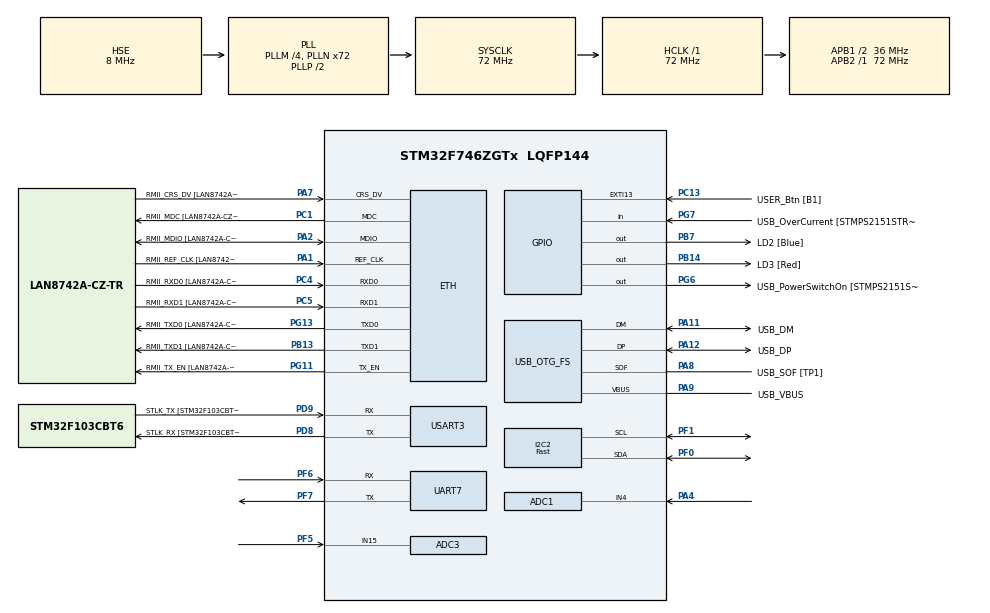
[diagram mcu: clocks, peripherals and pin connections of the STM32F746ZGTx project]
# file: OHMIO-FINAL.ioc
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ADC1.Channel-2\#ChannelRegularConversion=ADC_CHANNEL_4
ADC1.NbrOfConversionFlag=1
ADC1.Rank-2\#ChannelRegularConversion=1
ADC1.SamplingTime-2\#ChannelRegularConversion=ADC_SAMPLETIME_3CYCLES
ADC1.master=1
ADC3.Channel-0\#ChannelRegularConversion=ADC_CHANNEL_15
ADC3.NbrOfConversionFlag=1
ADC3.Rank-0\#ChannelRegularConversion=1
ADC3.SamplingTime-0\#ChannelRegularConversion=ADC_SAMPLETIME_3CYCLES
CORTEX_M7.CPU_DCache=Enabled
CORTEX_M7.CPU_ICache=Enabled
CORTEX_M7.MPU_Control=MPU_PRIVILEGED_DEFAULT
CORTEX_M7.PREFETCH_ENABLE=1
Dma.Request0=UART7_RX
Dma.Request1=UART7_TX
Dma.UART7_RX.0.Direction=DMA_PERIPH_TO_MEMORY
Dma.UART7_RX.0.FIFOMode=DMA_FIFOMODE_DISABLE
Dma.UART7_RX.0.Instance=DMA1_Stream3
Dma.UART7_RX.0.MemDataAlignment=DMA_MDATAALIGN_BYTE
Dma.UART7_RX.0.MemInc=DMA_MINC_ENABLE
Dma.UART7_RX.0.Mode=DMA_NORMAL
Dma.UART7_RX.0.PeriphDataAlignment=DMA_PDATAALIGN_BYTE
Dma.UART7_RX.0.PeriphInc=DMA_PINC_DISABLE
Dma.UART7_RX.0.Priority=DMA_PRIORITY_LOW
Dma.UART7_TX.1.Direction=DMA_MEMORY_TO_PERIPH
Dma.UART7_TX.1.FIFOMode=DMA_FIFOMODE_DISABLE
Dma.UART7_TX.1.Instance=DMA1_Stream1
Dma.UART7_TX.1.MemDataAlignment=DMA_MDATAALIGN_BYTE
Dma.UART7_TX.1.MemInc=DMA_MINC_ENABLE
Dma.UART7_TX.1.Mode=DMA_NORMAL
Dma.UART7_TX.1.PeriphDataAlignment=DMA_PDATAALIGN_BYTE
Dma.UART7_TX.1.PeriphInc=DMA_PINC_DISABLE
Dma.UART7_TX.1.Priority=DMA_PRIORITY_LOW
ETH.MediaInterface=HAL_ETH_RMII_MODE
I2C2.I2C_Speed_Mode=I2C_Fast
I2C2.Timing=0x00301739
LWIP.BSP.number=1
LWIP.LWIP_DHCP=1
LWIP.LWIP_IPV6=0
LWIP.LWIP_SNMP=0
LWIP.LWIP_SNMP_V3=0
LWIP.MEM_SIZE=10*1024
LWIP.Version=v2.1.2_Cube
LWIP0.BSP.STBoard=false
LWIP0.BSP.api=BSP_COMPONENT_DRIVER
LWIP0.BSP.component=LAN8742
LWIP0.BSP.instance=LAN8742
LWIP0.BSP.name=Driver_PHY
LWIP0.BSP.semaphore=S_LAN8742
LWIP0.BSP.solution=LAN8742
Mcu.Family=STM32F7
Mcu.Name=STM32F746ZGTx
Mcu.Package=LQFP144
NVIC.DMA1_Stream1_IRQn=true\:0\:0\:false\:false\:true\:false\:true\:true
NVIC.DMA1_Stream3_IRQn=true\:0\:0\:false\:false\:true\:false\:true\:true
NVIC.ETH_IRQn=true\:0\:0\:false\:false\:true\:true\:true\:true
NVIC.PriorityGroup=NVIC_PRIORITYGROUP_4
NVIC.UART7_IRQn=true\:0\:0\:false\:false\:true\:true\:true\:true
PA0/WKUP.Mode=SYS_WakeUp0
PA0/WKUP.Signal=SYS_WKUP1
PA1.GPIO_Label=RMII_REF_CLK [LAN8742A-CZ-TR_REFCLK0]
PA1.Mode=RMII
PA1.Signal=ETH_REF_CLK
PA10.GPIO_Label=USB_ID
PA10.Signal=USB_OTG_FS_ID
PA11.GPIO_Label=USB_DM
PA11.Mode=Device_Only
PA11.Signal=USB_OTG_FS_DM
PA12.GPIO_Label=USB_DP
PA12.Mode=Device_Only
PA12.Signal=USB_OTG_FS_DP
PA13.GPIO_Label=TMS
PA13.Mode=Serial_Wire
PA13.Signal=SYS_JTMS-SWDIO
PA14.GPIO_Label=TCK
PA14.Mode=Serial_Wire
PA14.Signal=SYS_JTCK-SWCLK
PA2.GPIO_Label=RMII_MDIO [LAN8742A-CZ-TR_MDIO]
PA2.Mode=RMII
PA2.Signal=ETH_MDIO
PA4.Signal=ADCx_IN4
PA7.GPIO_Label=RMII_CRS_DV [LAN8742A-CZ-TR_CRS_DV]
PA7.Mode=RMII
PA7.Signal=ETH_CRS_DV
PA8.GPIO_Label=USB_SOF [TP1]
PA8.Mode=Activate_SOF_FS
PA8.Signal=USB_OTG_FS_SOF
PA9.GPIO_Label=USB_VBUS
PA9.Mode=Activate_VBUS
PA9.Signal=USB_OTG_FS_VBUS
PB0.Signal=ETH_RXD2
PB13.GPIO_Label=RMII_TXD1 [LAN8742A-CZ-TR_TXD1]
PB13.Mode=RMII
PB13.Signal=ETH_TXD1
PB14.GPIO_Label=LD3 [Red]
PB14.Signal=GPIO_Output
PB3.GPIO_Label=SW0
PB3.Signal=SYS_JTDO-SWO
PB7.GPIO_Label=LD2 [Blue]
PB7.Signal=GPIO_Output
PC1.GPIO_Label=RMII_MDC [LAN8742A-CZ-TR_MDC]
PC1.Mode=RMII
PC1.Signal=ETH_MDC
PC13.GPIO_Label=USER_Btn [B1]
PC13.Signal=GPXTI13
PC14/OSC32_IN.Mode=LSE-External-Oscillator
PC14/OSC32_IN.Signal=RCC_OSC32_IN
PC15/OSC32_OUT.Mode=LSE-External-Oscillator
PC15/OSC32_OUT.Signal=RCC_OSC32_OUT
PC4.GPIO_Label=RMII_RXD0 [LAN8742A-CZ-TR_RXD0]
PC4.Mode=RMII
PC4.Signal=ETH_RXD0
PC5.GPIO_Label=RMII_RXD1 [LAN8742A-CZ-TR_RXD1]
PC5.Mode=RMII
PC5.Signal=ETH_RXD1
PD8.GPIO_Label=STLK_RX [STM32F103CBT6_PA3]
PD8.GPIO_PuPd=GPIO_PULLUP
PD8.Mode=Asynchronous
PD8.Signal=USART3_TX
PD9.GPIO_Label=STLK_TX [STM32F103CBT6_PA2]
PD9.GPIO_PuPd=GPIO_PULLUP
PD9.Mode=Asynchronous
PD9.Signal=USART3_RX
PF0.Mode=I2C
PF0.Signal=I2C2_SDA
PF1.Mode=I2C
PF1.Signal=I2C2_SCL
PF5.Mode=IN15
PF5.Signal=ADC3_IN15
PF6.Mode=Asynchronous
PF6.Signal=UART7_RX
PF7.Mode=Asynchronous
PF7.Signal=UART7_TX
PG11.GPIO_Label=RMII_TX_EN [LAN8742A-CZ-TR_TXEN]
PG11.Mode=RMII
PG11.Signal=ETH_TX_EN
PG13.GPIO_Label=RMII_TXD0 [LAN8742A-CZ-TR_TXD0]
PG13.Mode=RMII
PG13.Signal=ETH_TXD0
PG6.GPIO_Label=USB_PowerSwitchOn [STMPS2151STR_EN]
PG6.Signal=GPIO_Output
PG7.GPIO_Label=USB_OverCurrent [STMPS2151STR_FAULT]
PG7.Signal=GPIO_Input
PH0/OSC_IN.GPIO_Label=MCO [STM32F103CBT6_PA8]
PH0/OSC_IN.Mode=HSE-External-Clock-Source
PH0/OSC_IN.Signal=RCC_OSC_IN
PH1/OSC_OUT.Mode=HSE-External-Clock-Source
PH1/OSC_OUT.Signal=RCC_OSC_OUT
ProjectManager.HeapSize=0x200
ProjectManager.StackSize=0x400
ProjectManager.TargetToolchain=STM32CubeIDE
RCC.48MHZClocksFreq_Value=24000000
RCC.AHBFreq_Value=72000000
RCC.APB1CLKDivider=RCC_HCLK_DIV2
RCC.APB1Freq_Value=36000000
RCC.APB1TimFreq_Value=72000000
RCC.APB2Freq_Value=72000000
RCC.APB2TimFreq_Value=72000000
RCC.CortexFreq_Value=72000000
RCC.HCLKFreq_Value=72000000
RCC.HSE_VALUE=8000000
RCC.HSI_VALUE=16000000
RCC.PLLM=4
RCC.PLLMUL=RCC_PLL_MUL9
RCC.PLLN=72
RCC.PLLQ=3
RCC.PRESCALERUSB=RCC_USBCLKSOURCE_PLL_DIV1_5
RCC.SYSCLKFreq_VALUE=72000000
RCC.SYSCLKSource=RCC_SYSCLKSOURCE_PLLCLK
RCC.SYSCLKSourceVirtual=RCC_SYSCLKSOURCE_PLLCLK
RCC.USBFreq_Value=48000000
RCC.VCOOutputFreq_Value=144000000
SH.ADCx_IN4.0=ADC1_IN4,IN4
USART3.VirtualMode-Asynchronous=VM_ASYNC
USB_OTG_FS.VirtualMode=Device_Only
VP_LWIP_VS_Enabled.Mode=Enabled
board=NUCLEO-F746ZG

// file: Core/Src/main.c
/* USER CODE BEGIN Header */
/**
  ******************************************************************************
  * @file           : main.c
  * @brief          : Main program body
  ******************************************************************************
  * @attention
  *
  * Copyright (c) 2023 STMicroelectronics.
  * All rights reserved.
  *
  * This software is licensed under terms that can be found in the LICENSE file
  * in the root directory of this software component.
  * If no LICENSE file comes with this software, it is provided AS-IS.
  *
  ******************************************************************************
  */
/* USER CODE END Header */
#include "main.h"
#include "lwip.h"

/* USER CODE BEGIN Includes */
#include "ssd1306.h"
#include "ssd1306_tests.h"
#include "ssd1306_fonts.h"

#include "lwip/opt.h"
#include "lwip/timeouts.h"
#include "lwip/netif.h"
#include "lwip/ip4_addr.h"
#include "lwip/dhcp.h"
#include "ethernetif.h"
#include "string.h"
#include <stdbool.h>

/* USER CODE END Includes */

ADC_HandleTypeDef hadc1;
ADC_HandleTypeDef hadc3;

I2C_HandleTypeDef hi2c2;

UART_HandleTypeDef huart7;
UART_HandleTypeDef huart3;
DMA_HandleTypeDef hdma_uart7_rx;
DMA_HandleTypeDef hdma_uart7_tx;

PCD_HandleTypeDef hpcd_USB_OTG_FS;

void SystemClock_Config(void);
static void MPU_Config(void);
static void MX_GPIO_Init(void);
static void MX_DMA_Init(void);
static void MX_USB_OTG_FS_PCD_Init(void);
static void MX_I2C2_Init(void);
static void MX_ADC1_Init(void);
static void MX_ADC3_Init(void);
static void MX_UART7_Init(void);
static void MX_USART3_UART_Init(void);

/* USER CODE BEGIN 0 */
int _write(int file, char *ptr, int len){
	int i =0;
	for (i=0; i<len; i++)
		ITM_SendChar((*ptr++));
	return len;
}
/* USER CODE END 0 */

 //VARIABLES PUBLICAS DE NAVEGACION
 extern int indexMenu=0;
extern int screen=0;
static uint32_t last_arriba_time = 0; // keeps track of the last time "ARRIBA" was displayed
unsigned int analog_value_keypad; //ENTRADA ANALOGICA KEYPAD
//VARIABLES PUBLICAS DE RED
extern struct netif gnetif;

//VARIABLES GLOBALES DE ESTADO PÚBLICAS TODOS LOS DATOS RELEVANTES DE LA OHMIOBOX, empezando por la comunicación serial y luego los de adquisición seteados desde AWS
extern bool NetworkStatus;
extern bool CloudStatus;
extern bool SerialStatus;
extern bool isCheckingSerialStatus;
//variables modificadas que se dejan manipular o leer desde los aplicativos web y móvil, estas son las variables de la lógica de negocio
char currentFrequencyStr[15];
char currentChannel[15];
char currentStandard[15];
char currentMER[15];
char currentBER[15];
char currentID[15];
char currentWallet[15];
int currentDesireMinutes;
int currentTimeZone;

//VARIABLES DE COMUNICACION SERIAL
uint8_t tx_check[] = "9";
uint8_t tx_buff[] = "COMANDO 1";
uint8_t tx_buff2[] = "COMANDO 2";
uint8_t rx_buff[1];

void HAL_UART_RxCpltCallback(UART_HandleTypeDef *huart) {
    HAL_UART_Receive_IT(&huart7, rx_buff, 1);
    processReceivedData(rx_buff);
}

void processReceivedData(uint8_t* data) {
    if (*data == '9') {
        HAL_UART_Transmit_IT(&huart7, tx_check, strlen((char*)tx_check));
        rx_buff[0] = 0;  // Restore the value of rx_buff to 0
    }
}

int main(void)
{

  /* MPU Configuration--------------------------------------------------------*/
  MPU_Config();

  /* Enable I-Cache---------------------------------------------------------*/
  SCB_EnableICache();

  /* Enable D-Cache---------------------------------------------------------*/
  SCB_EnableDCache();

  /* MCU Configuration--------------------------------------------------------*/

  /* Reset of all peripherals, Initializes the Flash interface and the Systick. */
  HAL_Init();

  /* Configure the system clock */
  SystemClock_Config();

  /* Initialize all configured peripherals */
  MX_GPIO_Init();
  MX_DMA_Init();
  MX_USB_OTG_FS_PCD_Init();
  MX_I2C2_Init();
  MX_ADC1_Init();
  MX_ADC3_Init();
  MX_LWIP_Init();
  MX_UART7_Init();
  MX_USART3_UART_Init();
  /* USER CODE BEGIN 2 */
  ssd1306_Init();
  //INICIALIZAMOS EL SPLASH
  ssd1306_OhmioSplash();
  ssd1306_OhmioMenuPrincipal();
//  initializeData();

  /* USER CODE END 2 */

  /* Infinite loop */
  /* USER CODE BEGIN WHILE */
  uint32_t ipaddr;
  uint32_t netmask;
   char ip_str[16];
   char netmask_str[16];
   HAL_UART_Init(&huart7);
  HAL_UART_Receive_IT(&huart7,rx_buff,1);
  HAL_UART_Transmit_IT(&huart7, tx_check, strlen((char*)tx_check));

 while (1)
  {
    /* USER CODE END WHILE */
/* 	HAL_UART_Transmit_IT(&huart7, tx_buff, 8
  );
	HAL_Delay(5000); */

	  //INICIALIZAMOS EL SPLASH
    ethernetif_input(&gnetif);
    sys_check_timeouts();

    ipaddr = netif_ip4_addr(&gnetif);
    netmask = netif_ip4_netmask(&gnetif);

// Convertir la dirección IP en una cadena de caracteres
sprintf(ip_str, "%d.%d.%d.%d", (ipaddr & 0xff), ((ipaddr >> 8) & 0xff), ((ipaddr >> 16) & 0xff), ((ipaddr >> 24) & 0xff));

// Convertir la máscara de subred en una cadena de caracteres
sprintf(netmask_str, "%d.%d.%d.%d", (netmask & 0xff), ((netmask >> 8) & 0xff), ((netmask >> 16) & 0xff), ((netmask >> 24) & 0xff));

printf("IP");
printf("GATEWAY");

	  HAL_ADC_Start(&hadc3);
	  if(HAL_ADC_PollForConversion(&hadc3, 10)==HAL_OK){
		  analog_value_keypad=HAL_ADC_GetValue(&hadc3);
		  ssd1306_DisplayAnalogValue(analog_value_keypad, indexMenu, screen, ip_str, netmask_str);
	  }

	  //Displacement vertical
	   if(analog_value_keypad >= 700 && analog_value_keypad <= 950){
        if(screen==1){
          if (indexMenu==4){
            indexMenu=0;
          }
          else{
            indexMenu++;
          }
        }else if(screen==4){
          if (indexMenu==4){
            indexMenu=0;
          }
          else{
            indexMenu++;
          }
        }else if(screen==6){
          if (indexMenu==4){
            indexMenu=0;
          }
          else{
            indexMenu++;
          }
        }
        else{
          if (indexMenu==2){
            indexMenu=0;
          }
          else{
            indexMenu++;
          }
        }

	   }

	   //Displacement between screens
	   //screen=0 -> MENU PRINCIPAL
	   //screen=1 -> DASHBOARD
	   //screen=2 -> ENERGIA
	   //screen=3 -> SETTINGS
	   //screen=4 -> BROADCAST
     //screen=5 -> CLOUD
     //screen=6 -> SERIAL

	      if(analog_value_keypad >= 0 && analog_value_keypad <= 100){
			//Select
	    	//Menu Principal
			if(screen==0){
				if(indexMenu==0){
					//option Dashboard
					screen=1;
					indexMenu=0;
					ssd1306_UpdateScreen();
				}else if (indexMenu==1){
					//option Energy
					screen=2;
					indexMenu=0;
					ssd1306_UpdateScreen();
				}else if (indexMenu==2){
					screen=3;
					indexMenu=0;
					ssd1306_UpdateScreen();
				}
			}
			// Dashboard
				if(screen==1){
					if (indexMenu==0){
						//option RF
						screen=4;
						indexMenu=0;
						ssd1306_UpdateScreen();
					}else if (indexMenu==1){
						//option CLOUD
						screen=5;
						indexMenu=0;
						ssd1306_UpdateScreen();
					}
					else if (indexMenu==3){
						//option SERIAL
						screen=6;
						indexMenu=0;
						ssd1306_UpdateScreen();
					}
					else if (indexMenu==4){
						//option Atras back
						screen=0;
						indexMenu=0;
						ssd1306_UpdateScreen();
					}
				}
			// Energy
				if(screen==2){
					if(indexMenu==0){
						//option power no hace nada
						//screen=1;
					}else if (indexMenu==2){
						//option Atras back
						screen=0;
						indexMenu=0;
						ssd1306_UpdateScreen();
					}
				}
			// Settings
			if(screen==3){
				if(indexMenu==0){
					//option Version no hace nada
					//screen=1;
				}else if (indexMenu==2){
					//option Atras back
					screen=0;
					indexMenu=0;
					ssd1306_UpdateScreen();
				}
			}
      // BROADCAST
      if(screen==4){
        if(indexMenu==0){
					//screen=1;
				}
        else if (indexMenu==4){
					//option Atras back
					screen=1;
					indexMenu=0;
					ssd1306_UpdateScreen();
				}
      }
      // CLOUD
      if(screen==5){
        if(indexMenu==0){
					//screen=1;
				}
        else if (indexMenu==2){
					//option Atras back
					screen=1;
					indexMenu=0;
					ssd1306_UpdateScreen();
				}
      }

       // SERIAL / PRUEBAS DE COMUNICACIÓN
      if(screen==6){
        if(indexMenu==1){
					//screen=1;
          HAL_UART_Transmit_IT(&huart7, tx_buff, strlen((char*)tx_buff));
          HAL_Delay(50);
				} else if(indexMenu==2){
					//screen=1;
          HAL_UART_Transmit_IT(&huart7, tx_buff2, strlen((char*)tx_buff2));
          HAL_Delay(50);
        }
        else if (indexMenu==4){
					//option Atras back
					screen=1;
					indexMenu=0;
					ssd1306_UpdateScreen();
				}
      }
	      }

	  HAL_ADC_Stop(&hadc3);
	  HAL_Delay(50);

}
}
void SystemClock_Config(void)
{
  RCC_OscInitTypeDef RCC_OscInitStruct = {0};
  RCC_ClkInitTypeDef RCC_ClkInitStruct = {0};

  /** Configure LSE Drive Capability
  */
  HAL_PWR_EnableBkUpAccess();

  /** Configure the main internal regulator output voltage
  */
  __HAL_RCC_PWR_CLK_ENABLE();
  __HAL_PWR_VOLTAGESCALING_CONFIG(PWR_REGULATOR_VOLTAGE_SCALE3);

  /** Initializes the RCC Oscillators according to the specified parameters
  * in the RCC_OscInitTypeDef structure.
  */
  RCC_OscInitStruct.OscillatorType = RCC_OSCILLATORTYPE_HSE;
  RCC_OscInitStruct.HSEState = RCC_HSE_BYPASS;
  RCC_OscInitStruct.PLL.PLLState = RCC_PLL_ON;
  RCC_OscInitStruct.PLL.PLLSource = RCC_PLLSOURCE_HSE;
  RCC_OscInitStruct.PLL.PLLM = 4;
  RCC_OscInitStruct.PLL.PLLN = 72;
  RCC_OscInitStruct.PLL.PLLP = RCC_PLLP_DIV2;
  RCC_OscInitStruct.PLL.PLLQ = 3;
  if (HAL_RCC_OscConfig(&RCC_OscInitStruct) != HAL_OK)
  {
    Error_Handler();
  }

  /** Initializes the CPU, AHB and APB buses clocks
  */
  RCC_ClkInitStruct.ClockType = RCC_CLOCKTYPE_HCLK|RCC_CLOCKTYPE_SYSCLK
                              |RCC_CLOCKTYPE_PCLK1|RCC_CLOCKTYPE_PCLK2;
  RCC_ClkInitStruct.SYSCLKSource = RCC_SYSCLKSOURCE_PLLCLK;
  RCC_ClkInitStruct.AHBCLKDivider = RCC_SYSCLK_DIV1;
  RCC_ClkInitStruct.APB1CLKDivider = RCC_HCLK_DIV2;
  RCC_ClkInitStruct.APB2CLKDivider = RCC_HCLK_DIV1;

  if (HAL_RCC_ClockConfig(&RCC_ClkInitStruct, FLASH_LATENCY_2) != HAL_OK)
  {
    Error_Handler();
  }
}

static void MX_ADC1_Init(void)
{

  ADC_ChannelConfTypeDef sConfig = {0};

  /** Configure the global features of the ADC (Clock, Resolution, Data Alignment and number of conversion)
  */
  hadc1.Instance = ADC1;
  hadc1.Init.ClockPrescaler = ADC_CLOCK_SYNC_PCLK_DIV2;
  hadc1.Init.Resolution = ADC_RESOLUTION_12B;
  hadc1.Init.ScanConvMode = ADC_SCAN_DISABLE;
  hadc1.Init.ContinuousConvMode = DISABLE;
  hadc1.Init.DiscontinuousConvMode = DISABLE;
  hadc1.Init.ExternalTrigConvEdge = ADC_EXTERNALTRIGCONVEDGE_NONE;
  hadc1.Init.ExternalTrigConv = ADC_SOFTWARE_START;
  hadc1.Init.DataAlign = ADC_DATAALIGN_RIGHT;
  hadc1.Init.NbrOfConversion = 1;
  hadc1.Init.DMAContinuousRequests = DISABLE;
  hadc1.Init.EOCSelection = ADC_EOC_SINGLE_CONV;
  if (HAL_ADC_Init(&hadc1) != HAL_OK)
  {
    Error_Handler();
  }

  /** Configure for the selected ADC regular channel its corresponding rank in the sequencer and its sample time.
  */
  sConfig.Channel = ADC_CHANNEL_4;
  sConfig.Rank = ADC_REGULAR_RANK_1;
  sConfig.SamplingTime = ADC_SAMPLETIME_3CYCLES;
  if (HAL_ADC_ConfigChannel(&hadc1, &sConfig) != HAL_OK)
  {
    Error_Handler();
  }

}

static void MX_ADC3_Init(void)
{

  ADC_ChannelConfTypeDef sConfig = {0};

  /** Configure the global features of the ADC (Clock, Resolution, Data Alignment and number of conversion)
  */
  hadc3.Instance = ADC3;
  hadc3.Init.ClockPrescaler = ADC_CLOCK_SYNC_PCLK_DIV2;
  hadc3.Init.Resolution = ADC_RESOLUTION_12B;
  hadc3.Init.ScanConvMode = ADC_SCAN_DISABLE;
  hadc3.Init.ContinuousConvMode = DISABLE;
  hadc3.Init.DiscontinuousConvMode = DISABLE;
  hadc3.Init.ExternalTrigConvEdge = ADC_EXTERNALTRIGCONVEDGE_NONE;
  hadc3.Init.ExternalTrigConv = ADC_SOFTWARE_START;
  hadc3.Init.DataAlign = ADC_DATAALIGN_RIGHT;
  hadc3.Init.NbrOfConversion = 1;
  hadc3.Init.DMAContinuousRequests = DISABLE;
  hadc3.Init.EOCSelection = ADC_EOC_SINGLE_CONV;
  if (HAL_ADC_Init(&hadc3) != HAL_OK)
  {
    Error_Handler();
  }

  /** Configure for the selected ADC regular channel its corresponding rank in the sequencer and its sample time.
  */
  sConfig.Channel = ADC_CHANNEL_15;
  sConfig.Rank = ADC_REGULAR_RANK_1;
  sConfig.SamplingTime = ADC_SAMPLETIME_3CYCLES;
  if (HAL_ADC_ConfigChannel(&hadc3, &sConfig) != HAL_OK)
  {
    Error_Handler();
  }

}

static void MX_I2C2_Init(void)
{

  hi2c2.Instance = I2C2;
  hi2c2.Init.Timing = 0x00301739;
  hi2c2.Init.OwnAddress1 = 0;
  hi2c2.Init.AddressingMode = I2C_ADDRESSINGMODE_7BIT;
  hi2c2.Init.DualAddressMode = I2C_DUALADDRESS_DISABLE;
  hi2c2.Init.OwnAddress2 = 0;
  hi2c2.Init.OwnAddress2Masks = I2C_OA2_NOMASK;
  hi2c2.Init.GeneralCallMode = I2C_GENERALCALL_DISABLE;
  hi2c2.Init.NoStretchMode = I2C_NOSTRETCH_DISABLE;
  if (HAL_I2C_Init(&hi2c2) != HAL_OK)
  {
    Error_Handler();
  }

  /** Configure Analogue filter
  */
  if (HAL_I2CEx_ConfigAnalogFilter(&hi2c2, I2C_ANALOGFILTER_ENABLE) != HAL_OK)
  {
    Error_Handler();
  }

  /** Configure Digital filter
  */
  if (HAL_I2CEx_ConfigDigitalFilter(&hi2c2, 0) != HAL_OK)
  {
    Error_Handler();
  }

}

static void MX_UART7_Init(void)
{

  huart7.Instance = UART7;
  huart7.Init.BaudRate = 115200;
  huart7.Init.WordLength = UART_WORDLENGTH_8B;
  huart7.Init.StopBits = UART_STOPBITS_1;
  huart7.Init.Parity = UART_PARITY_NONE;
  huart7.Init.Mode = UART_MODE_TX_RX;
  huart7.Init.HwFlowCtl = UART_HWCONTROL_NONE;
  huart7.Init.OverSampling = UART_OVERSAMPLING_16;
  huart7.Init.OneBitSampling = UART_ONE_BIT_SAMPLE_DISABLE;
  huart7.AdvancedInit.AdvFeatureInit = UART_ADVFEATURE_NO_INIT;
  if (HAL_UART_Init(&huart7) != HAL_OK)
  {
    Error_Handler();
  }

}

static void MX_USART3_UART_Init(void)
{

  huart3.Instance = USART3;
  huart3.Init.BaudRate = 115200;
  huart3.Init.WordLength = UART_WORDLENGTH_8B;
  huart3.Init.StopBits = UART_STOPBITS_1;
  huart3.Init.Parity = UART_PARITY_NONE;
  huart3.Init.Mode = UART_MODE_TX_RX;
  huart3.Init.HwFlowCtl = UART_HWCONTROL_NONE;
  huart3.Init.OverSampling = UART_OVERSAMPLING_16;
  huart3.Init.OneBitSampling = UART_ONE_BIT_SAMPLE_DISABLE;
  huart3.AdvancedInit.AdvFeatureInit = UART_ADVFEATURE_NO_INIT;
  if (HAL_UART_Init(&huart3) != HAL_OK)
  {
    Error_Handler();
  }

}

static void MX_USB_OTG_FS_PCD_Init(void)
{

  hpcd_USB_OTG_FS.Instance = USB_OTG_FS;
  hpcd_USB_OTG_FS.Init.dev_endpoints = 6;
  hpcd_USB_OTG_FS.Init.speed = PCD_SPEED_FULL;
  hpcd_USB_OTG_FS.Init.dma_enable = DISABLE;
  hpcd_USB_OTG_FS.Init.phy_itface = PCD_PHY_EMBEDDED;
  hpcd_USB_OTG_FS.Init.Sof_enable = ENABLE;
  hpcd_USB_OTG_FS.Init.low_power_enable = DISABLE;
  hpcd_USB_OTG_FS.Init.lpm_enable = DISABLE;
  hpcd_USB_OTG_FS.Init.vbus_sensing_enable = ENABLE;
  hpcd_USB_OTG_FS.Init.use_dedicated_ep1 = DISABLE;
  if (HAL_PCD_Init(&hpcd_USB_OTG_FS) != HAL_OK)
  {
    Error_Handler();
  }

}

static void MX_DMA_Init(void)
{

  /* DMA controller clock enable */
  __HAL_RCC_DMA1_CLK_ENABLE();

  /* DMA interrupt init */
  /* DMA1_Stream1_IRQn interrupt configuration */
  HAL_NVIC_SetPriority(DMA1_Stream1_IRQn, 0, 0);
  HAL_NVIC_EnableIRQ(DMA1_Stream1_IRQn);
  /* DMA1_Stream3_IRQn interrupt configuration */
  HAL_NVIC_SetPriority(DMA1_Stream3_IRQn, 0, 0);
  HAL_NVIC_EnableIRQ(DMA1_Stream3_IRQn);

}

static void MX_GPIO_Init(void)
{
  GPIO_InitTypeDef GPIO_InitStruct = {0};

  /* GPIO Ports Clock Enable */
  __HAL_RCC_GPIOC_CLK_ENABLE();
  __HAL_RCC_GPIOF_CLK_ENABLE();
  __HAL_RCC_GPIOH_CLK_ENABLE();
  __HAL_RCC_GPIOA_CLK_ENABLE();
  __HAL_RCC_GPIOB_CLK_ENABLE();
  __HAL_RCC_GPIOD_CLK_ENABLE();
  __HAL_RCC_GPIOG_CLK_ENABLE();

  /*Configure GPIO pin Output Level */
  HAL_GPIO_WritePin(GPIOB, LD3_Pin|LD2_Pin, GPIO_PIN_RESET);

  /*Configure GPIO pin Output Level */
  HAL_GPIO_WritePin(USB_PowerSwitchOn_GPIO_Port, USB_PowerSwitchOn_Pin, GPIO_PIN_RESET);

  /*Configure GPIO pin : USER_Btn_Pin */
  GPIO_InitStruct.Pin = USER_Btn_Pin;
  GPIO_InitStruct.Mode = GPIO_MODE_IT_RISING;
  GPIO_InitStruct.Pull = GPIO_NOPULL;
  HAL_GPIO_Init(USER_Btn_GPIO_Port, &GPIO_InitStruct);

  /*Configure GPIO pins : LD3_Pin LD2_Pin */
  GPIO_InitStruct.Pin = LD3_Pin|LD2_Pin;
  GPIO_InitStruct.Mode = GPIO_MODE_OUTPUT_PP;
  GPIO_InitStruct.Pull = GPIO_NOPULL;
  GPIO_InitStruct.Speed = GPIO_SPEED_FREQ_LOW;
  HAL_GPIO_Init(GPIOB, &GPIO_InitStruct);

  /*Configure GPIO pin : USB_PowerSwitchOn_Pin */
  GPIO_InitStruct.Pin = USB_PowerSwitchOn_Pin;
  GPIO_InitStruct.Mode = GPIO_MODE_OUTPUT_PP;
  GPIO_InitStruct.Pull = GPIO_NOPULL;
  GPIO_InitStruct.Speed = GPIO_SPEED_FREQ_LOW;
  HAL_GPIO_Init(USB_PowerSwitchOn_GPIO_Port, &GPIO_InitStruct);

  /*Configure GPIO pin : USB_OverCurrent_Pin */
  GPIO_InitStruct.Pin = USB_OverCurrent_Pin;
  GPIO_InitStruct.Mode = GPIO_MODE_INPUT;
  GPIO_InitStruct.Pull = GPIO_NOPULL;
  HAL_GPIO_Init(USB_OverCurrent_GPIO_Port, &GPIO_InitStruct);

}

/* MPU Configuration */

void MPU_Config(void)
{

  /* Disables the MPU */
  HAL_MPU_Disable();
  /* Enables the MPU */
  HAL_MPU_Enable(MPU_PRIVILEGED_DEFAULT);

}

void Error_Handler(void)
{
  __disable_irq();
  while (1)
  {
  }
}
